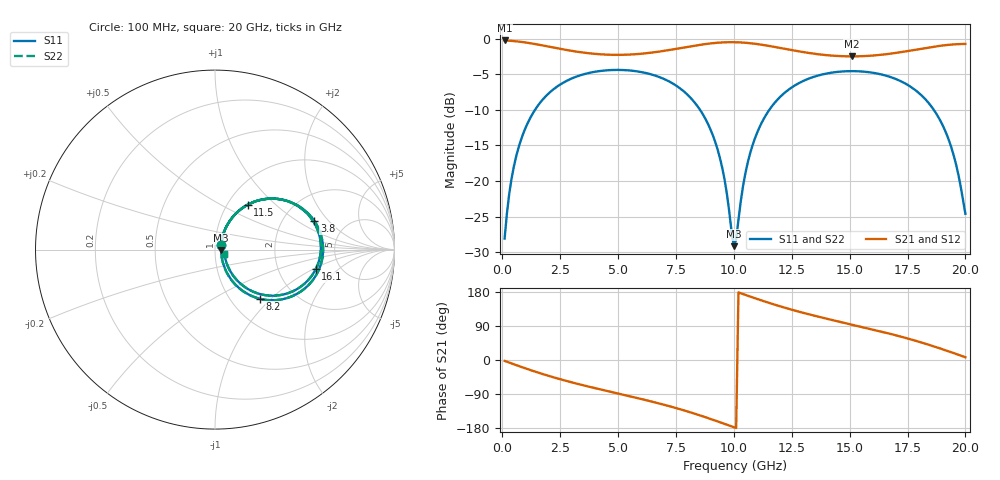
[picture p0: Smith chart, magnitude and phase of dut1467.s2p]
! Touchstone file exported from HFSS 2026.1.0
!  File:  C:/ffzhzh/LocalFiles/Ansys_Project_Files/temp_train_TSV_RDL_1467_1783361064_50076.aedt
!  Generated:  02:17:06 AM Jul  7, 2026
!  Design:  TSV_RDL
!  Project:  temp_train_TSV_RDL_1467_1783361064_50076
! Variables:
!  h_bsmrdl = 3.54um
!  h_ox = 20um
!  h_rdl = 5um
!  h_sub = 66.02um
!  h_tmrdl = 5.19um
!  h_tsv = 66.02um
!  h_via = 3um
!  l_bsmrdl = 606.07um
!  l_sub = 6124.53um
!  l_tmrdl = 954.47um
!  m_sub = 200um
!  pitch = 47.64um
!  r_tsv = 11.29um
!  s_tmrdl = 10um
!  w_bsmrdl = 13.95um
!  w_sub = 500um
!  w_tmrdl = 15.53um
!  x_tsv_center1 = 962.235um
!  x_tsv_center2 = 1582.255um
!  x_tsv_center3 = 2552.255um
!  x_tsv_center4 = 3172.275um
!  x_tsv_center5 = 4142.275um
!  x_tsv_center6 = 4762.295um
# GHz S MA R 50.000000
! Terminal data exported
! Port[1] = TM_RDL1_1_T1
! Port[2] = TM_RDL5_1_T1
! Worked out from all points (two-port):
!   200 points, 100 MHz to 20 GHz, reference 50 ohm
!   highest |S21| = -0.27 dB at 100 MHz (marker M1); lowest = -2.5 dB at 15.1 GHz (marker M2)
!   |S21| within 3 dB of the highest: start of sweep to end of sweep
!   lowest |S11| = -29.2 dB at 10 GHz (marker M3), VSWR 1.07, Z = 53.6 - j0.476 ohm
!   |S11| at or under -10 dB: start of sweep to 1.417 GHz; 8.536 GHz to 11.54 GHz (3.001 GHz wide, 29.9 % of centre); 18.63 GHz to end of sweep
!   |S22| runs from -29.4 to -4.4 dB; largest |S21 - S12| = 1.6e-14
!   S11 on the Smith chart (normalised r, x): 100 MHz: 1.06, +0.05; 3.8 GHz: 2.97, +1.42; 8.2 GHz: 1.36, -0.87; 11.5 GHz: 1.24, +0.69; 16.1 GHz: 3.29, -1.07; 20 GHz: 1.11, -0.06
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0.1  0.03935 38.2  0.9697 -2.3  0.9697 -2.3  0.03935 38.2
! Gamma 0 0 0 0
! Port Impedance 50 0 50 0
0.5  0.1263 63.7  0.9599 -11.3  0.9599 -11.3  0.1263 63.7
1.1  0.2555 58.2  0.9335 -24.2  0.9335 -24.2  0.2555 58.2
2.1  0.4255 41.9  0.8718 -43.7  0.8718 -43.7  0.4255 41.9
3.5  0.5602 20.3  0.7969 -66.8  0.7969 -66.8  0.5602 20.3
3.8  0.576 16.1  0.7864 -71.3  0.7864 -71.3  0.576 16.0
5.3  0.6 -4.4  0.7696 -92.7  0.7696 -92.7  0.6 -4.4
6.8  0.5351 -25.4  0.811 -115.1  0.811 -115.1  0.5351 -25.4
8.2  0.3727 -47.4  0.8856 -139.6  0.8856 -139.6  0.3727 -47.5
9.3  0.166 -62.5  0.9347 -162.1  0.9347 -162.1  0.1659 -62.7
9.6  0.102 -61.0  0.941 -168.6  0.941 -168.6  0.1018 -61.4
10  0.0348 -7.3  0.9429 -177.3  0.9429 -177.3  0.03406 -7.6
10.1  0.03885 26.2  0.9421 -179.5  0.9421 -179.5  0.03816 26.7
10.6  0.1346 63.3  0.9312 169.6  0.9312 169.6  0.1344 63.7
11.5  0.3102 53.9  0.8889 151.1  0.8889 151.1  0.3101 54.0
13.4  0.535 25.0  0.7853 118.1  0.7853 118.1  0.535 25.1
15.1  0.5904 2.1  0.7497 93.3  0.7497 93.3  0.5904 2.2
16.1  0.5715 -11.1  0.762 78.9  0.762 78.9  0.5716 -11.1
16.7  0.5409 -19.3  0.7808 69.9  0.7808 69.9  0.5409 -19.3
18.9  0.2683 -51.3  0.889 30.6  0.889 30.6  0.2683 -51.4
19.5  0.1501 -54.8  0.91 18.1  0.91 18.1  0.1502 -54.8
20  0.05879 -26.9  0.9169 7.2  0.9169 7.2  0.0588 -27.0
